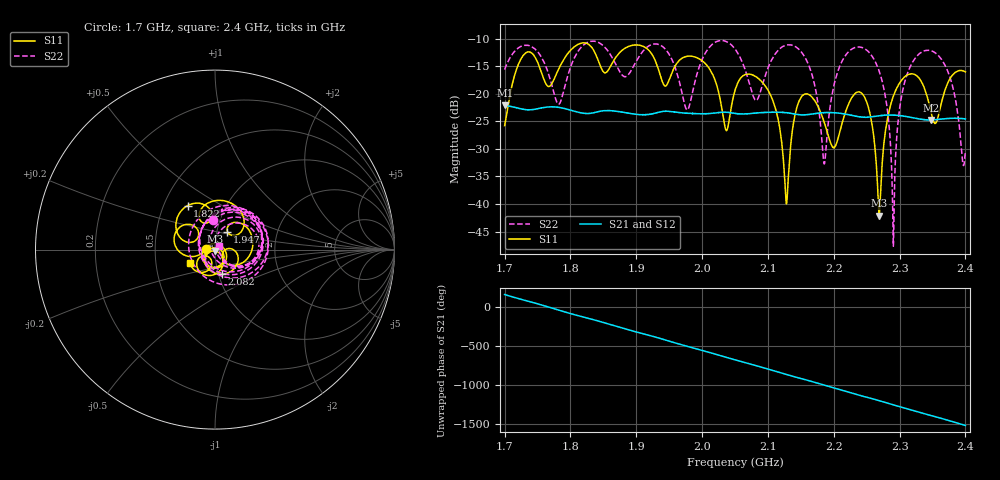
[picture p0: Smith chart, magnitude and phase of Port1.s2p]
# Hz S RI R 50
! CMT, CMT808U, 21440046, 21.4.3/4
! Date: 9/9/2026 12:48:01 AM
! Data: Format (Calibration Info)
! Freq	S11:Re/Im(F2)	S41:Re/Im(F2)	S14:Re/Im(F2)	S44:Re/Im(F2)
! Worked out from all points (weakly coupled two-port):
!   3001 points, 1.7 GHz to 2.4 GHz, reference 50 ohm
!   highest |S21| = -22.13 dB at 1.7 GHz (marker M1); lowest = -24.8 dB at 2.348 GHz (marker M2)
!   lowest |S11| = -42.1 dB at 2.269 GHz (marker M3), VSWR 1.02, Z = 49.9 - j0.778 ohm
!   |S11| at or under -10 dB: start of sweep to end of sweep
!   |S22| runs from -47.6 to -10.4 dB; largest |S21 - S12| = 0.0011
!   S11 on the Smith chart (normalised r, x): 1.7 GHz: 0.90, +0.01; 1.822 GHz: 0.66, +0.35; 1.947 GHz: 1.12, +0.23; 2.082 GHz: 1.04, -0.29; 2.4 GHz: 0.75, -0.11
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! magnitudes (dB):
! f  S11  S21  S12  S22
! 1.7 GHz  -25.8  -22.1  -22.2  -15.6
! 1.7 GHz  -25.7  -22.1  -22.2  -15.6
! 1.73 GHz  -12.8  -22.9  -22.9  -11.2
! 1.782 GHz  -15.5  -22.5  -22.5  -21.9
! 1.817 GHz  -10.8  -23.5  -23.5  -11.5
! 1.822 GHz  -10.8  -23.6  -23.6  -11.0
! 1.934 GHz  -15.5  -23.4  -23.4  -11.1
! 1.947 GHz  -18.3  -23.2  -23.2  -12.3
! 1.977 GHz  -13.2  -23.5  -23.6  -22.9
! 2.05 GHz  -19.4  -23.6  -23.6  -11.9
! 2.082 GHz  -16.9  -23.5  -23.5  -21.2
! 2.128 GHz  -40.0  -23.4  -23.5  -11.2
! 2.167 GHz  -20.6  -23.7  -23.7  -16.4
! 2.186 GHz  -25.2  -23.4  -23.4  -32.7
! 2.208 GHz  -27.7  -23.5  -23.5  -15.5
! 2.244 GHz  -20.2  -24.3  -24.3  -11.7
! 2.269 GHz  -42.1  -24.0  -24.0  -15.9
! 2.284 GHz  -23.4  -23.9  -23.9  -25.1
! 2.291 GHz  -20.4  -23.9  -23.9  -46.8
! 2.308 GHz  -16.9  -24.1  -24.1  -17.9
! 2.348 GHz  -23.2  -24.8  -24.7  -12.2
! 2.4 GHz  -16.0  -24.6  -24.6  -30.4
